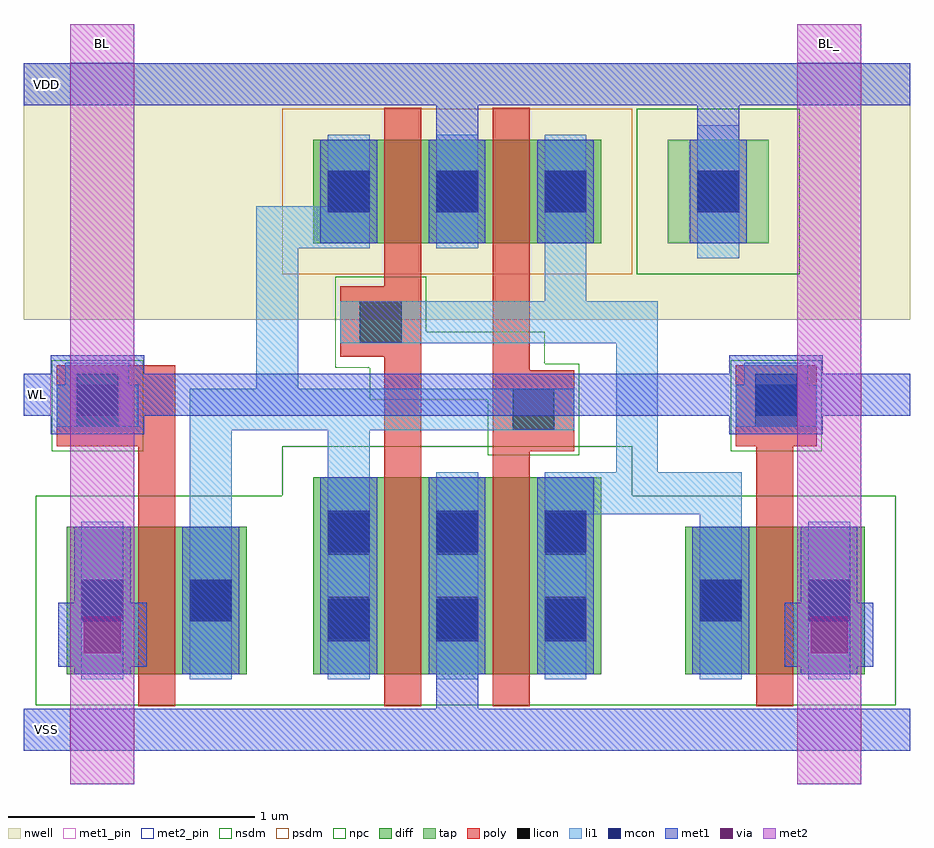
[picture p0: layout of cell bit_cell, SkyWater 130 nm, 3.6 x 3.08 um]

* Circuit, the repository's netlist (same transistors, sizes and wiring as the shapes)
* SPICE3 file created from bit_cell.ext - technology: sky130A

X0 a_182_n47# a_58_30# VDD VDD sky130_fd_pr__pfet_01v8 ad=0.1218 pd=1.42 as=0.1218 ps=1.42 w=0.42 l=0.15
X1 a_58_30# a_182_n47# VDD VDD sky130_fd_pr__pfet_01v8 ad=0.1218 pd=1.42 as=0.121825 ps=1.425 w=0.42 l=0.15
X2 a_182_n47# a_58_30# VSS VSS sky130_fd_pr__nfet_01v8 ad=0.232 pd=2.18 as=0.232 ps=2.18 w=0.8 l=0.15
X3 a_58_30# a_182_n47# VSS VSS sky130_fd_pr__nfet_01v8 ad=0.406 pd=3.96 as=0.232025 ps=2.185 w=0.8 l=0.15
X4 a_182_n47# WL BL VSS sky130_fd_pr__nfet_01v8 ad=0.174 pd=1.78 as=0.174 ps=1.78 w=0.6 l=0.15
X5 BL_ WL a_58_30# VSS sky130_fd_pr__nfet_01v8 ad=0.174 pd=1.78 as=0 ps=0 w=0.6 l=0.15

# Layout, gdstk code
from math import pi, radians
import gdstk
lib = gdstk.Library(unit=1e-6, precision=1e-09)
def R(c, l, rs):  # rectangles x0, y0, x1, y1
    for r in rs: c.add(gdstk.rectangle(r[:2], r[2:], *l))
nwell = (64, 20)
diff = (65, 20)
tap = (65, 44)
poly = (66, 20)
licon = (66, 44)
li1 = (67, 20)
mcon = (67, 44)
met1_pin = (68, 16)
met1 = (68, 20)
via = (68, 44)
met2_pin = (69, 16)
met2 = (69, 20)
nsdm = (93, 44)
psdm = (94, 20)
npc = (95, 20)

sky130_fd_pr__nfet_01v8_ = lib.new_cell('sky130_fd_pr__nfet_01v8_FB3UY2')
R(sky130_fd_pr__nfet_01v8_, diff, [(-0.365,-0.3,0.365,0.3)])
R(sky130_fd_pr__nfet_01v8_, poly, [(-0.075,-0.43,0.075,0.43)])
R(sky130_fd_pr__nfet_01v8_, licon, [(-0.305,-0.085,-0.135,0.085), (0.135,-0.085,0.305,0.085)])
R(sky130_fd_pr__nfet_01v8_, li1, [(-0.305,-0.32,-0.135,0.32), (0.135,-0.32,0.305,0.32)])
R(sky130_fd_pr__nfet_01v8_, mcon, [(-0.305,-0.085,-0.135,0.085), (0.135,-0.085,0.305,0.085)])
R(sky130_fd_pr__nfet_01v8_, met1, [(-0.335,-0.3,-0.105,0.3), (0.105,-0.3,0.335,0.3)])
R(sky130_fd_pr__nfet_01v8_, nsdm, [(-0.49,-0.425,0.49,0.425)])

c_sky130_fd_pr__nfet_01v8_ = lib.new_cell('sky130_fd_pr__nfet_01v8_BBXUYH')
R(c_sky130_fd_pr__nfet_01v8_, diff, [(-0.365,-0.4,0.365,0.4)])
R(c_sky130_fd_pr__nfet_01v8_, poly, [(-0.075,-0.53,0.075,0.53)])
R(c_sky130_fd_pr__nfet_01v8_, licon, [(-0.305,-0.255,-0.135,-0.085), (0.135,-0.255,0.305,-0.085), (-0.305,0.085,-0.135,0.255), (0.135,0.085,0.305,0.255)])
R(c_sky130_fd_pr__nfet_01v8_, li1, [(-0.305,-0.42,-0.135,0.42), (0.135,-0.42,0.305,0.42)])
R(c_sky130_fd_pr__nfet_01v8_, mcon, [(-0.305,-0.265,-0.135,-0.095), (0.135,-0.265,0.305,-0.095), (-0.305,0.095,-0.135,0.265), (0.135,0.095,0.305,0.265)])
R(c_sky130_fd_pr__nfet_01v8_, met1, [(-0.335,-0.4,-0.105,0.4), (0.105,-0.4,0.335,0.4)])
R(c_sky130_fd_pr__nfet_01v8_, nsdm, [(-0.49,-0.525,0.49,0.525)])

sky130_fd_pr__pfet_01v8_ = lib.new_cell('sky130_fd_pr__pfet_01v8_4Y88KP')
R(sky130_fd_pr__pfet_01v8_, nwell, [(-0.545,-0.52,0.545,0.52)])
R(sky130_fd_pr__pfet_01v8_, diff, [(-0.365,-0.21,0.365,0.21)])
R(sky130_fd_pr__pfet_01v8_, poly, [(-0.075,-0.34,0.075,0.34)])
R(sky130_fd_pr__pfet_01v8_, licon, [(-0.305,-0.085,-0.135,0.085), (0.135,-0.085,0.305,0.085)])
R(sky130_fd_pr__pfet_01v8_, li1, [(-0.305,-0.23,-0.135,0.23), (0.135,-0.23,0.305,0.23)])
R(sky130_fd_pr__pfet_01v8_, mcon, [(-0.305,-0.085,-0.135,0.085), (0.135,-0.085,0.305,0.085)])
R(sky130_fd_pr__pfet_01v8_, met1, [(-0.335,-0.21,-0.105,0.21), (0.105,-0.21,0.335,0.21)])
R(sky130_fd_pr__pfet_01v8_, psdm, [(-0.49,-0.335,0.49,0.335)])

bit_cell = lib.new_cell('bit_cell')
R(bit_cell, nwell, [(-0.995,0.3,0,1.34), (1.53,0.3,2.605,1.34)])
R(bit_cell, tap, [(1.62,0.61,2.03,1.03)])
R(bit_cell, poly, [(-0.53,-0.41,-0.38,-0.215), (1.98,-0.41,2.13,-0.215), (0.91,-0.235,1.24,0.095), (-0.86,-0.215,-0.38,0.115), (1.895,-0.215,2.225,0.115), (0.47,-0.21,0.62,0.15), (0.91,0.095,1.06,0.48), (0.29,0.15,0.62,0.435), (0.47,0.435,0.62,0.48)])
R(bit_cell, licon, [(0.99,-0.15,1.16,0.02), (-0.78,-0.135,-0.61,0.035), (1.975,-0.135,2.145,0.035), (0.37,0.205,0.54,0.375), (1.74,0.735,1.91,0.905)])
R(bit_cell, li1, [(-0.32,-0.52,-0.15,-0.15), (1.75,-0.52,1.92,-0.49), (1.12,-0.49,1.92,-0.32), (0.24,-0.32,0.41,-0.15), (1.41,-0.32,1.58,0.205), (-0.32,-0.15,1.24,0.02), (-0.86,-0.135,-0.53,0.035), (1.895,-0.135,2.225,0.035), (-0.05,0.02,0.12,0.59), (-0.825,0.035,-0.565,0.125), (1.93,0.035,2.19,0.125), (0.29,0.205,1.58,0.375), (1.12,0.375,1.29,0.595), (1.74,0.55,1.91,1.09), (-0.05,0.59,0.41,0.76)])
R(bit_cell, mcon, [(-0.78,-0.09,-0.61,0.08), (1.975,-0.09,2.145,0.08), (1.74,0.735,1.91,0.905)])
R(bit_cell, met1_pin, [(-0.995,-1.45,-0.805,-1.28), (-0.995,-0.09,-0.885,0.08), (-0.995,1.17,-0.805,1.34)])
R(bit_cell, met1, [(-0.995,-1.45,2.605,-1.28), (0.68,-1.28,0.85,-1.14), (-0.855,-1.11,-0.495,-0.85), (2.095,-1.11,2.455,-0.85), (-0.885,-0.165,-0.505,-0.09), (1.87,-0.165,2.25,-0.09), (-0.995,-0.09,2.605,0.08), (-0.885,0.08,-0.505,0.155), (1.87,0.08,2.25,0.155), (1.71,0.61,1.94,1.03), (0.68,1.03,0.85,1.17), (1.74,1.03,1.91,1.17), (-0.995,1.17,2.605,1.34)])
R(bit_cell, via, [(-0.75,-1.055,-0.6,-0.905), (2.2,-1.055,2.35,-0.905)])
R(bit_cell, met2_pin, [(-0.805,1.34,-0.545,1.5), (2.145,1.34,2.405,1.5)])
R(bit_cell, met2, [(-0.805,-1.585,-0.545,1.5), (2.145,-1.585,2.405,1.5)])
R(bit_cell, nsdm, [(0.035,-1.265,0.055,-0.415), (1.475,-1.265,1.565,-0.415), (1.495,0.485,2.155,1.155)])
R(bit_cell, npc, [(0.89,-0.25,1.26,-0.025), (-0.88,-0.235,-0.51,0.135), (1.875,-0.235,2.245,0.135), (0.41,-0.025,1.26,0.105), (0.27,0.105,1.26,0.12), (0.27,0.12,1.12,0.25), (0.27,0.25,0.64,0.475)])
bit_cell.add(gdstk.Reference(sky130_fd_pr__nfet_01v8_, (2.055,-0.84)))
bit_cell.add(gdstk.Reference(sky130_fd_pr__nfet_01v8_, (-0.455,-0.84)))
bit_cell.add(gdstk.Reference(c_sky130_fd_pr__nfet_01v8_, (0.985,-0.74)))
bit_cell.add(gdstk.Reference(c_sky130_fd_pr__nfet_01v8_, (0.545,-0.74), rotation=pi, x_reflection=True))
bit_cell.add(gdstk.Reference(sky130_fd_pr__pfet_01v8_, (0.985,0.82)))
bit_cell.add(gdstk.Reference(sky130_fd_pr__pfet_01v8_, (0.545,0.82), rotation=pi, x_reflection=True))
bit_cell.add(gdstk.Label('BL', (-0.675,1.42), layer=69, texttype=5))
bit_cell.add(gdstk.Label('VDD', (-0.9,1.255), layer=68, texttype=5))
bit_cell.add(gdstk.Label('WL', (-0.94,-0.005), layer=68, texttype=5))
bit_cell.add(gdstk.Label('VSS', (-0.9,-1.365), layer=68, texttype=5))
bit_cell.add(gdstk.Label('BL_', (2.275,1.42), layer=69, texttype=5))

lib.write_gds('bit_cell.gds')
